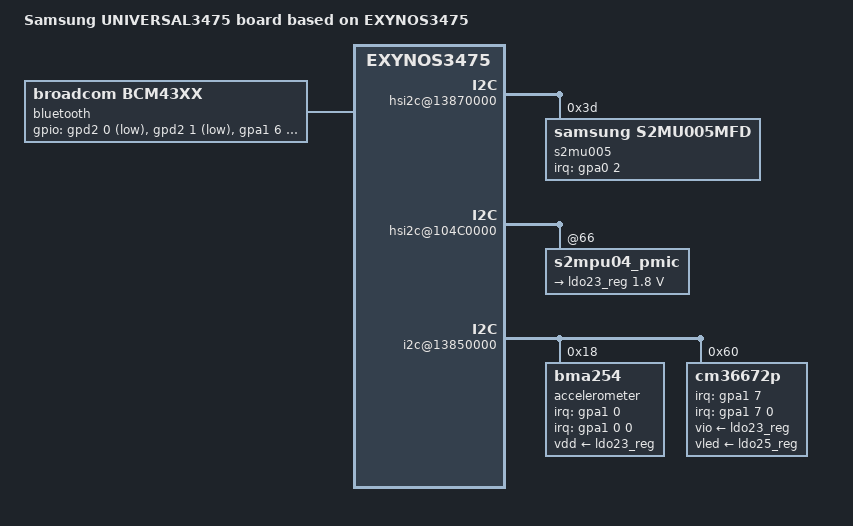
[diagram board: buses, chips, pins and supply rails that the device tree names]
/*
 * SAMSUNG EXYNOS3475 board device tree source
 *
 * Copyright (c) 2013 Samsung Electronics Co., Ltd.
 *		http://www.samsung.com
 *
 * This program is free software; you can redistribute it and/or modify
 * it under the terms of the GNU General Public License version 2 as
 * published by the Free Software Foundation.
*/

/dts-v1/;
#include "exynos3475-j1x_common.dtsi"
#include "modem-ss308ap-pdata.dtsi"
#include "exynos3475-j1xlte_battery.dtsi"
#include "exynos3475-j1xlte_mea_jt_gpio_02.dtsi"

/ {
	model = "Samsung UNIVERSAL3475 board based on EXYNOS3475";
	model_info-chip = <3475>;
	model_info-platform = "android";
	model_info-subtype = "samsung";
	model_info-hw_rev = <2>;
	model_info-hw_rev_end = <255>;
	compatible = "samsung,UNIVERSAL3475", "samsung,exynos3475";

	hsi2c@13870000 {
		status = "okay";
		s2mu005@3d {
			compatible = "samsung,s2mu005mfd";
			reg = <0x3d>;
			pinctrl-names = "default";
			pinctrl-0 = <&if_pmic_irq>;
			s2mu005,irq-gpio = <&gpa0 2 0>;
			s2mu005,wakeup;

			leds {
				flash-gpio = <&gpd2 3 0>;
				torch-gpio = <&gpd0 7 0>;

				flash_current = <1000>;
				preflash_current = <175>;
				movie_current = <175>;
				torch_current = <75>;
				factory_current = <250>;

				status = "okay";
				s2mu005-leds1 {
					ledname = "leds-sec1";
					id = <0>;
					timeout = <15>;
				};

				s2mu005-leds2 {
					ledname = "leds-sec2";
					id = <1>;
					timeout = <15>;
				};
			};

			muic {
				status = "okay";
				muic,uart_addr = "139c0000.pinctrl";
				muic,uart_rxd = "gpb1-0";
				muic,uart_txd = "gpb1-1";
			};
		};
	};

	hsi2c@104C0000 {
		s2mpu04_pmic@66 {
			regulators {
				ldo23_reg: LDO23 {
					regulator-name = "vdd_ldo23";
					regulator-min-microvolt = <1800000>;
					regulator-max-microvolt = <1800000>;
					regulator-always-on;
					regulator-initial-mode = <3>;
				};
			};
		};
	};

	bluetooth {
		compatible = "broadcom,bcm43xx";
		gpios = <&gpd2 0 1	/*BT_EN*/
				&gpd2 1 1	/*BT_WAKE*/
				&gpa1 6 0xF	/*BT_HOST_WAKE*/ >;
		pinctrl-names = "default";
		pinctrl-0=<&bt_hostwake &bt_btwake &bt_reg_on>;
		status = "okay";
	};

	pinctrl@139B0000 {
		acc_int: acc_int {
			samsung,pins = "gpa1-0";
			samsung,pins-function = <0x0>;
			samsung,pin-pud = <0>;
			samsung,pin-drv = <0>;
		};
		prox_int: prox_int {
			samsung,pins = "gpa1-7";
			samsung,pins-function = <0x0>;
			samsung,pin-pud = <3>;
			samsung,pin-drv = <0>;
		};
	};

	i2c@13850000 {
		status = "okay";
		samsung,i2c-sda-delay = <100>;
		samsung,i2c-max-bus-freq = <400000>;

		accelerometer@18 {
			compatible = "bma254";
			reg = <0x18>;
			interrupt-parent = <&gpa1>;
			interrupts = <0 0 0>;
			bma254,irq_gpio = <&gpa1 0 0>;
			bma254,i2c-pull-up = <1>;
			bma254,vdd-supply = <&ldo23_reg>;
			bma254,used_chip = "BMA25X_ENABLED";
			bma254,position = <4>;
		};

		cm36672p@60 {
			compatible = "cm36672p";
			reg = <0x60>;
			pinctrl-names = "default";
			pinctrl-0 = <&prox_int>;
			interrupt-parent = <&gpa1>;
			interrupts = <7 0 0>;
			cm36672p,gpio_sensors_ldo_en = <&gpq0 2 0x1>; /*SENSOR LDO EN*/
			cm36672p,vio-supply = <&ldo23_reg>;
			cm36672p,vled-supply = <&ldo25_reg>;
			cm36672p,irq_gpio = <&gpa1 7 0>;
			cm36672p,default_hi_thd = <19>;
			cm36672p,default_low_thd = <14>;
			cm36672p,cancel_hi_thd = <10>;
			cm36672p,cancel_low_thd = <7>;
			cm36672p,ps_duty = <2>;
			cm36672p,ps_it = <0>;
			cm36672p,led_current = <1>;
			cm36672p,default_trim = <0>;
		};
	};
};
